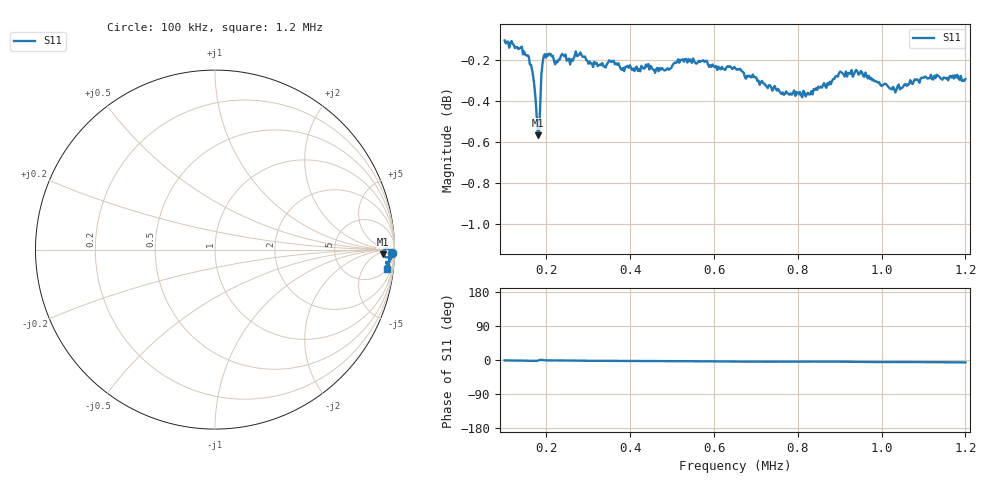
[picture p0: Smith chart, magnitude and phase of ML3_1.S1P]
!Agilent Technologies,E5071C,MY46100265,A.07.02
!Date: Wed Mar 04 14:52:47 2020
!Data & Calibration Information:
!Freq	S11:SOLT1(ON)
# Hz S MA R 50
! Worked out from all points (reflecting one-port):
!   402 points, 100 kHz to 1.2 MHz, reference 50 ohm
!   lowest |S11| = -0.6 dB at 179.6 kHz (marker M1), VSWR 30.65, Z = 1.3e+03 - j548 ohm
!   phase of S11 starts at -1 deg and turns -5 deg over the sweep
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100000  0.9879 -1.0
152120  0.9796 -1.8
160349  0.9747 -2.2
168579  0.9678 -2.5
174065  0.9556 -2.6
179551  0.9368 -1.6
185037  0.9532 0.4
187781  0.9691 0.2
190524  0.9753 -0.2
196010  0.9804 -0.6
215212  0.9794 -1.4
239900  0.9799 -1.4
297506  0.9768 -2.0
344140  0.9749 -2.1
377057  0.9724 -2.3
486783  0.972 -2.7
514214  0.9775 -2.8
651372  0.9726 -4.0
719950  0.9642 -4.4
788529  0.9594 -4.3
824190  0.9594 -4.2
881796  0.9659 -4.2
925686  0.9695 -4.7
983292  0.9656 -5.3
1029925  0.9615 -5.3
1062843  0.9639 -5.2
1131421  0.9691 -5.8
1200000  0.9667 -6.3
